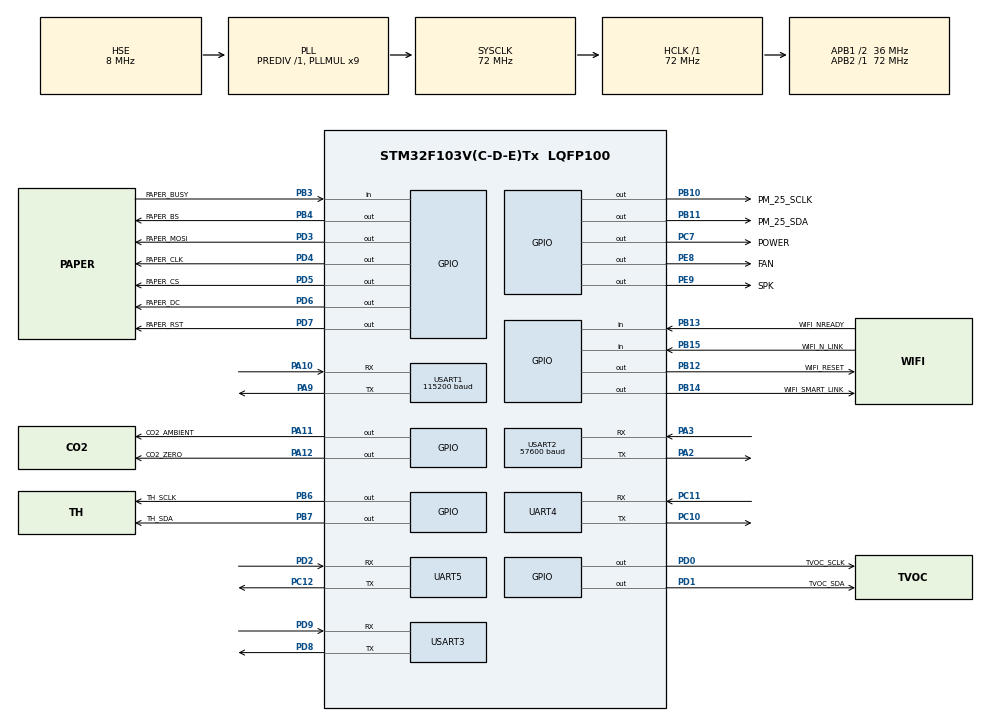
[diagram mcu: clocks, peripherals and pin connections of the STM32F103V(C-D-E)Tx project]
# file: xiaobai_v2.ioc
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Dma.Request0=USART1_RX
Dma.Request1=USART1_TX
Dma.Request2=USART3_RX
Dma.Request3=USART3_TX
Dma.Request4=UART4_RX
Dma.Request5=UART4_TX
Dma.Request6=USART2_RX
Dma.Request7=USART2_TX
Dma.UART4_RX.4.Direction=DMA_PERIPH_TO_MEMORY
Dma.UART4_RX.4.Instance=DMA2_Channel3
Dma.UART4_RX.4.MemDataAlignment=DMA_MDATAALIGN_BYTE
Dma.UART4_RX.4.MemInc=DMA_MINC_ENABLE
Dma.UART4_RX.4.Mode=DMA_NORMAL
Dma.UART4_RX.4.PeriphDataAlignment=DMA_PDATAALIGN_BYTE
Dma.UART4_RX.4.PeriphInc=DMA_PINC_DISABLE
Dma.UART4_RX.4.Priority=DMA_PRIORITY_HIGH
Dma.UART4_TX.5.Direction=DMA_MEMORY_TO_PERIPH
Dma.UART4_TX.5.Instance=DMA2_Channel5
Dma.UART4_TX.5.MemDataAlignment=DMA_MDATAALIGN_BYTE
Dma.UART4_TX.5.MemInc=DMA_MINC_ENABLE
Dma.UART4_TX.5.Mode=DMA_NORMAL
Dma.UART4_TX.5.PeriphDataAlignment=DMA_PDATAALIGN_BYTE
Dma.UART4_TX.5.PeriphInc=DMA_PINC_DISABLE
Dma.UART4_TX.5.Priority=DMA_PRIORITY_MEDIUM
Dma.USART1_RX.0.Direction=DMA_PERIPH_TO_MEMORY
Dma.USART1_RX.0.Instance=DMA1_Channel5
Dma.USART1_RX.0.MemDataAlignment=DMA_MDATAALIGN_BYTE
Dma.USART1_RX.0.MemInc=DMA_MINC_ENABLE
Dma.USART1_RX.0.Mode=DMA_NORMAL
Dma.USART1_RX.0.PeriphDataAlignment=DMA_PDATAALIGN_BYTE
Dma.USART1_RX.0.PeriphInc=DMA_PINC_DISABLE
Dma.USART1_RX.0.Priority=DMA_PRIORITY_HIGH
Dma.USART1_TX.1.Direction=DMA_MEMORY_TO_PERIPH
Dma.USART1_TX.1.Instance=DMA1_Channel4
Dma.USART1_TX.1.MemDataAlignment=DMA_MDATAALIGN_BYTE
Dma.USART1_TX.1.MemInc=DMA_MINC_ENABLE
Dma.USART1_TX.1.Mode=DMA_NORMAL
Dma.USART1_TX.1.PeriphDataAlignment=DMA_PDATAALIGN_BYTE
Dma.USART1_TX.1.PeriphInc=DMA_PINC_DISABLE
Dma.USART1_TX.1.Priority=DMA_PRIORITY_MEDIUM
Dma.USART2_RX.6.Direction=DMA_PERIPH_TO_MEMORY
Dma.USART2_RX.6.Instance=DMA1_Channel6
Dma.USART2_RX.6.MemDataAlignment=DMA_MDATAALIGN_BYTE
Dma.USART2_RX.6.MemInc=DMA_MINC_ENABLE
Dma.USART2_RX.6.Mode=DMA_NORMAL
Dma.USART2_RX.6.PeriphDataAlignment=DMA_PDATAALIGN_BYTE
Dma.USART2_RX.6.PeriphInc=DMA_PINC_DISABLE
Dma.USART2_RX.6.Priority=DMA_PRIORITY_MEDIUM
Dma.USART2_TX.7.Direction=DMA_MEMORY_TO_PERIPH
Dma.USART2_TX.7.Instance=DMA1_Channel7
Dma.USART2_TX.7.MemDataAlignment=DMA_MDATAALIGN_BYTE
Dma.USART2_TX.7.MemInc=DMA_MINC_ENABLE
Dma.USART2_TX.7.Mode=DMA_NORMAL
Dma.USART2_TX.7.PeriphDataAlignment=DMA_PDATAALIGN_BYTE
Dma.USART2_TX.7.PeriphInc=DMA_PINC_DISABLE
Dma.USART2_TX.7.Priority=DMA_PRIORITY_LOW
Dma.USART3_RX.2.Direction=DMA_PERIPH_TO_MEMORY
Dma.USART3_RX.2.Instance=DMA1_Channel3
Dma.USART3_RX.2.MemDataAlignment=DMA_MDATAALIGN_BYTE
Dma.USART3_RX.2.MemInc=DMA_MINC_ENABLE
Dma.USART3_RX.2.Mode=DMA_NORMAL
Dma.USART3_RX.2.PeriphDataAlignment=DMA_PDATAALIGN_BYTE
Dma.USART3_RX.2.PeriphInc=DMA_PINC_DISABLE
Dma.USART3_RX.2.Priority=DMA_PRIORITY_LOW
Dma.USART3_TX.3.Direction=DMA_MEMORY_TO_PERIPH
Dma.USART3_TX.3.Instance=DMA1_Channel2
Dma.USART3_TX.3.MemDataAlignment=DMA_MDATAALIGN_BYTE
Dma.USART3_TX.3.MemInc=DMA_MINC_ENABLE
Dma.USART3_TX.3.Mode=DMA_NORMAL
Dma.USART3_TX.3.PeriphDataAlignment=DMA_PDATAALIGN_BYTE
Dma.USART3_TX.3.PeriphInc=DMA_PINC_DISABLE
Dma.USART3_TX.3.Priority=DMA_PRIORITY_HIGH
FREERTOS.INCLUDE_uxTaskGetStackHighWaterMark=1
FREERTOS.INCLUDE_xTaskGetCurrentTaskHandle=1
FREERTOS.Queues01=serial_queue,8,uint8_t,NULL;gui_queue,8,uint32_t,NULL
FREERTOS.Tasks01=sys_core_task,0,500,sys_core_function,Default;gui_task,0,800,gui_function,Default;serial_task,2,800,serial_function,Default;watcher_task,0,400,watcher_function,Default
FREERTOS.configTOTAL_HEAP_SIZE=20480
FREERTOS.configUSE_IDLE_HOOK=1
FREERTOS.configUSE_TICK_HOOK=1
Mcu.Family=STM32F1
Mcu.Name=STM32F103V(C-D-E)Tx
Mcu.Package=LQFP100
NVIC.DMA1_Channel2_IRQn=true\:5\:0\:false\:false\:true\:true
NVIC.DMA1_Channel3_IRQn=true\:5\:0\:false\:false\:true\:true
NVIC.DMA1_Channel4_IRQn=true\:5\:0\:false\:false\:true\:true
NVIC.DMA1_Channel5_IRQn=true\:5\:0\:false\:false\:true\:true
NVIC.DMA1_Channel6_IRQn=true\:5\:0\:false\:false\:true\:true
NVIC.DMA1_Channel7_IRQn=true\:5\:0\:false\:false\:true\:true
NVIC.DMA2_Channel3_IRQn=true\:5\:0\:false\:false\:true\:true
NVIC.DMA2_Channel4_5_IRQn=true\:5\:0\:false\:false\:true\:true
NVIC.PriorityGroup=NVIC_PRIORITYGROUP_4
NVIC.RTC_IRQn=true\:5\:0\:false\:false\:true\:true
NVIC.TIM2_IRQn=true\:5\:0\:false\:false\:true\:true
NVIC.TIM3_IRQn=true\:5\:0\:false\:false\:true\:true
NVIC.TIM4_IRQn=true\:5\:0\:false\:false\:true\:true
NVIC.TIM5_IRQn=true\:5\:0\:false\:false\:true\:true
NVIC.TIM6_IRQn=true\:5\:0\:false\:false\:true\:true
NVIC.TIM7_IRQn=true\:0\:0\:false\:false\:true\:false
NVIC.TimeBase=TIM7_IRQn
NVIC.TimeBaseIP=TIM7
NVIC.UART4_IRQn=true\:5\:0\:false\:false\:true\:true
NVIC.UART5_IRQn=true\:5\:0\:false\:false\:true\:true
NVIC.USART1_IRQn=true\:5\:0\:false\:false\:true\:true
NVIC.USART2_IRQn=true\:5\:0\:false\:false\:true\:true
NVIC.USART3_IRQn=true\:5\:0\:false\:false\:true\:true
OSC_IN.Mode=HSE-External-Oscillator
OSC_IN.Signal=RCC_OSC_IN
OSC_OUT.Mode=HSE-External-Oscillator
OSC_OUT.Signal=RCC_OSC_OUT
PA10.Mode=Asynchronous
PA10.Signal=USART1_RX
PA11.GPIO_Label=CO2_AMBIENT
PA11.Signal=GPIO_Output
PA12.GPIO_Label=CO2_ZERO
PA12.Signal=GPIO_Output
PA13.Mode=Serial_Wire
PA13.Signal=SYS_JTMS-SWDIO
PA14.Mode=Serial_Wire
PA14.Signal=SYS_JTCK-SWCLK
PA2.Mode=Asynchronous
PA2.Signal=USART2_TX
PA3.Mode=Asynchronous
PA3.Signal=USART2_RX
PA9.Mode=Asynchronous
PA9.Signal=USART1_TX
PB10.GPIO_Label=PM_25_SCLK
PB10.GPIO_ModeDefaultOutputPP=GPIO_MODE_OUTPUT_PP
PB10.Signal=GPIO_Output
PB11.GPIO_Label=PM_25_SDA
PB11.GPIO_ModeDefaultOutputPP=GPIO_MODE_OUTPUT_OD
PB11.Signal=GPIO_Output
PB12.GPIO_Label=WIFI_RESET
PB12.PinState=GPIO_PIN_SET
PB12.Signal=GPIO_Output
PB13.GPIO_Label=WIFI_NREADY
PB13.Signal=GPIO_Input
PB14.GPIO_Label=WIFI_SMART_LINK
PB14.PinState=GPIO_PIN_SET
PB14.Signal=GPIO_Output
PB15.GPIO_Label=WIFI_N_LINK
PB15.Signal=GPIO_Input
PB3.GPIO_Label=PAPER_BUSY
PB3.Signal=GPIO_Input
PB4.GPIO_Label=PAPER_BS
PB4.Signal=GPIO_Output
PB6.GPIO_Label=TH_SCLK
PB6.GPIO_ModeDefaultOutputPP=GPIO_MODE_OUTPUT_PP
PB6.Signal=GPIO_Output
PB7.GPIO_Label=TH_SDA
PB7.GPIO_ModeDefaultOutputPP=GPIO_MODE_OUTPUT_OD
PB7.Signal=GPIO_Output
PC10.Mode=Asynchronous
PC10.Signal=UART4_TX
PC11.Mode=Asynchronous
PC11.Signal=UART4_RX
PC12.Mode=Asynchronous
PC12.Signal=UART5_TX
PC14-OSC32_IN.Mode=LSE-External-Oscillator
PC14-OSC32_IN.Signal=RCC_OSC32_IN
PC15-OSC32_OUT.Mode=LSE-External-Oscillator
PC15-OSC32_OUT.Signal=RCC_OSC32_OUT
PC7.GPIO_Label=POWER
PC7.Signal=GPIO_Output
PD0.GPIO_Label=TVOC_SCLK
PD0.Signal=GPIO_Output
PD1.GPIO_Label=TVOC_SDA
PD1.GPIO_ModeDefaultOutputPP=GPIO_MODE_OUTPUT_OD
PD1.Signal=GPIO_Output
PD2.Mode=Asynchronous
PD2.Signal=UART5_RX
PD3.GPIO_Label=PAPER_MOSI
PD3.Signal=GPIO_Output
PD4.GPIO_Label=PAPER_CLK
PD4.Signal=GPIO_Output
PD5.GPIO_Label=PAPER_CS
PD5.Signal=GPIO_Output
PD6.GPIO_Label=PAPER_DC
PD6.Signal=GPIO_Output
PD7.GPIO_Label=PAPER_RST
PD7.Signal=GPIO_Output
PD8.Mode=Asynchronous
PD8.Signal=USART3_TX
PD9.Mode=Asynchronous
PD9.Signal=USART3_RX
PE8.GPIO_Label=FAN
PE8.Signal=GPIO_Output
PE9.GPIO_Label=SPK
PE9.Signal=GPIO_Output
ProjectManager.HeapSize=0x400
ProjectManager.StackSize=0x1000
ProjectManager.TargetToolchain=MDK-ARM V5
RCC.AHBFreq_Value=72000000
RCC.APB1CLKDivider=RCC_HCLK_DIV2
RCC.APB1Freq_Value=36000000
RCC.APB1TimFreq_Value=72000000
RCC.APB2Freq_Value=72000000
RCC.APB2TimFreq_Value=72000000
RCC.HCLKFreq_Value=72000000
RCC.HSIState=RCC_HSI_ON
RCC.PLLMUL=RCC_PLL_MUL9
RCC.PLLSourceVirtual=RCC_PLLSOURCE_HSE
RCC.SYSCLKFreq_VALUE=72000000
RCC.SYSCLKSource=RCC_SYSCLKSOURCE_PLLCLK
RCC.USBFreq_Value=72000000
TIM2.Period=199
TIM2.Prescaler=71
TIM3.Period=2999
TIM3.Prescaler=71
TIM4.Period=2999
TIM4.Prescaler=71
TIM5.Period=2999
TIM5.Prescaler=71
TIM6.Period=2999
TIM6.Prescaler=71
USART1.BaudRate=115200
USART2.BaudRate=57600
VP_CRC_VS_CRC.Mode=CRC_Activate
VP_FREERTOS_VS_ENABLE.Mode=Enabled
VP_RTC_No_RTC_Output.Mode=RTC_OUT_NO
VP_SYS_VS_tim7.Mode=TIM7
VP_TIM2_VS_ClockSourceINT.Mode=Internal
VP_TIM3_VS_ClockSourceINT.Mode=Internal
VP_TIM4_VS_ClockSourceINT.Mode=Internal
VP_TIM5_VS_ClockSourceINT.Mode=Internal
VP_TIM6_VS_ClockSourceINT.Mode=Enable_Timer
board=xiaobai_v2

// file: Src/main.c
/**
  ******************************************************************************
  * File Name          : main.c
  * Description        : Main program body
  ******************************************************************************
  *
  * COPYRIGHT(c) 2017 STMicroelectronics
  *
  * Redistribution and use in source and binary forms, with or without modification,
  * are permitted provided that the following conditions are met:
  *   1. Redistributions of source code must retain the above copyright notice,
  *      this list of conditions and the following disclaimer.
  *   2. Redistributions in binary form must reproduce the above copyright notice,
  *      this list of conditions and the following disclaimer in the documentation
  *      and/or other materials provided with the distribution.
  *   3. Neither the name of STMicroelectronics nor the names of its contributors
  *      may be used to endorse or promote products derived from this software
  *      without specific prior written permission.
  *
  * THIS SOFTWARE IS PROVIDED BY THE COPYRIGHT HOLDERS AND CONTRIBUTORS "AS IS"
  * AND ANY EXPRESS OR IMPLIED WARRANTIES, INCLUDING, BUT NOT LIMITED TO, THE
  * IMPLIED WARRANTIES OF MERCHANTABILITY AND FITNESS FOR A PARTICULAR PURPOSE ARE
  * DISCLAIMED. IN NO EVENT SHALL THE COPYRIGHT HOLDER OR CONTRIBUTORS BE LIABLE
  * FOR ANY DIRECT, INDIRECT, INCIDENTAL, SPECIAL, EXEMPLARY, OR CONSEQUENTIAL
  * DAMAGES (INCLUDING, BUT NOT LIMITED TO, PROCUREMENT OF SUBSTITUTE GOODS OR
  * SERVICES; LOSS OF USE, DATA, OR PROFITS; OR BUSINESS INTERRUPTION) HOWEVER
  * CAUSED AND ON ANY THEORY OF LIABILITY, WHETHER IN CONTRACT, STRICT LIABILITY,
  * OR TORT (INCLUDING NEGLIGENCE OR OTHERWISE) ARISING IN ANY WAY OUT OF THE USE
  * OF THIS SOFTWARE, EVEN IF ADVISED OF THE POSSIBILITY OF SUCH DAMAGE.
  *
  ******************************************************************************
  */
#include "stm32f1xx_hal.h"
#include "cmsis_os.h"
#include "crc.h"
#include "dma.h"
#include "rtc.h"
#include "tim.h"
#include "usart.h"
#include "gpio.h"

/* USER CODE BEGIN Includes */
#include "include.h"
/* USER CODE END Includes */

/* USER CODE BEGIN PV */
/* Private variables ---------------------------------------------------------*/
extern osMessageQId serial_queueHandle;
extern osMessageQId gui_queueHandle;
/* USER CODE END PV */

void SystemClock_Config(void);
void Error_Handler(void);
void MX_FREERTOS_Init(void);

/* USER CODE BEGIN PFP */
/* Private function prototypes -----------------------------------------------*/

/* USER CODE END PFP */

int main(void)
{

  /* MCU Configuration----------------------------------------------------------*/

  /* Reset of all peripherals, Initializes the Flash interface and the Systick. */
  HAL_Init();

  /* Configure the system clock */
  SystemClock_Config();

  /* Initialize all configured peripherals */
  MX_GPIO_Init();
  MX_DMA_Init();
  MX_RTC_Init();
  MX_CRC_Init();
  MX_UART4_Init();
  MX_UART5_Init();
  MX_USART1_UART_Init();
  MX_USART2_UART_Init();
  MX_USART3_UART_Init();
  MX_TIM3_Init();
  MX_TIM4_Init();
  MX_TIM5_Init();
  MX_TIM6_Init();
  MX_TIM2_Init();

  /* USER CODE BEGIN 2 */
  POWER_ON;
  RELEASE_WIFI_RESET;
  RELEASE_SMART_LINK;
  //SET_SMART_LINK;
  co2_sensor_recv_data.mask = 900;
  HAL_Delay(300);
  HAL_UART_Transmit(&huart1,"K 2",3,800);
  HAL_Delay(300);
  HAL_UART_Transmit(&huart1,"M 12358",7,800);
  HAL_Delay(300);
  HAL_UART_Transmit(&huart1,"X 450",5,800);
  HAL_Delay(300);
  while(HAL_UART_Receive_IT(&huart5,pm25_sensor_recv_data.rx_data,1)==HAL_OK);
  /* USER CODE END 2 */

  /* Call init function for freertos objects (in freertos.c) */
  MX_FREERTOS_Init();

  /* Start scheduler */
  osKernelStart();

  /* We should never get here as control is now taken by the scheduler */

  /* Infinite loop */
  while (1)
  {

  }

}

/** System Clock Configuration
*/
void SystemClock_Config(void)
{

  RCC_OscInitTypeDef RCC_OscInitStruct;
  RCC_ClkInitTypeDef RCC_ClkInitStruct;
  RCC_PeriphCLKInitTypeDef PeriphClkInit;

  RCC_OscInitStruct.OscillatorType = RCC_OSCILLATORTYPE_HSE|RCC_OSCILLATORTYPE_LSE;
  RCC_OscInitStruct.HSEState = RCC_HSE_ON;
  RCC_OscInitStruct.HSEPredivValue = RCC_HSE_PREDIV_DIV1;
  RCC_OscInitStruct.LSEState = RCC_LSE_ON;
  RCC_OscInitStruct.PLL.PLLState = RCC_PLL_ON;
  RCC_OscInitStruct.PLL.PLLSource = RCC_PLLSOURCE_HSE;
  RCC_OscInitStruct.PLL.PLLMUL = RCC_PLL_MUL9;
  if (HAL_RCC_OscConfig(&RCC_OscInitStruct) != HAL_OK)
  {
    Error_Handler();
  }

  RCC_ClkInitStruct.ClockType = RCC_CLOCKTYPE_HCLK|RCC_CLOCKTYPE_SYSCLK
                              |RCC_CLOCKTYPE_PCLK1|RCC_CLOCKTYPE_PCLK2;
  RCC_ClkInitStruct.SYSCLKSource = RCC_SYSCLKSOURCE_PLLCLK;
  RCC_ClkInitStruct.AHBCLKDivider = RCC_SYSCLK_DIV1;
  RCC_ClkInitStruct.APB1CLKDivider = RCC_HCLK_DIV2;
  RCC_ClkInitStruct.APB2CLKDivider = RCC_HCLK_DIV1;
  if (HAL_RCC_ClockConfig(&RCC_ClkInitStruct, FLASH_LATENCY_2) != HAL_OK)
  {
    Error_Handler();
  }

  PeriphClkInit.PeriphClockSelection = RCC_PERIPHCLK_RTC;
  PeriphClkInit.RTCClockSelection = RCC_RTCCLKSOURCE_LSE;
  if (HAL_RCCEx_PeriphCLKConfig(&PeriphClkInit) != HAL_OK)
  {
    Error_Handler();
  }

  HAL_SYSTICK_Config(HAL_RCC_GetHCLKFreq()/1000);

  HAL_SYSTICK_CLKSourceConfig(SYSTICK_CLKSOURCE_HCLK);

  /* SysTick_IRQn interrupt configuration */
  HAL_NVIC_SetPriority(SysTick_IRQn, 15, 0);
}

void HAL_TIM_PeriodElapsedCallback(TIM_HandleTypeDef *htim)
{
/* USER CODE BEGIN Callback 0 */
//S_Usart1_Recv_Data co2_sensor_recv_data;
//S_Usart2_Recv_Data tcm300_recv_data;
//S_Usart3_Recv_Data wifi_recv_data;
//S_Usart4_Recv_Data hcho_sensor_recv_data;
//S_Usart5_Recv_Data pm25_sensor_recv_data;

	unsigned char uasrt_msg = 0;
	BaseType_t xHigherPriorityTaskWoken;
	xHigherPriorityTaskWoken = pdFALSE;
	if (htim->Instance == TIM2) {
  	HAL_TIM_Base_Stop_IT(&htim2);
	if(co2_sensor_recv_data.dma_cndtr ==  huart1.hdmarx->Instance->CNDTR)
		{
		        HAL_UART_DMAStop(&huart1);
			co2_sensor_recv_data.data_len = USART1_RECV_BUFF_SIZE-co2_sensor_recv_data.dma_cndtr;
			HAL_UART_Receive_DMA(&huart1, co2_sensor_recv_data.rx_data, USART1_RECV_BUFF_SIZE);
			uasrt_msg = USART1_RECV_DATA;
			co2_sensor_recv_data.recv_ok = 1;
			xQueueSendFromISR(serial_queueHandle,&uasrt_msg,&xHigherPriorityTaskWoken);
		}else{
			HAL_TIM_Base_Start_IT(&htim2);
			co2_sensor_recv_data.dma_cndtr =  huart1.hdmarx->Instance->CNDTR;
		}
  	}

	if (htim->Instance == TIM3) {
  	HAL_TIM_Base_Stop_IT(&htim3);
	if(tcm300_recv_data.dma_cndtr ==  huart2.hdmarx->Instance->CNDTR)
		{
		        HAL_UART_DMAStop(&huart2);
			tcm300_recv_data.data_len = USART2_RECV_BUFF_SIZE-tcm300_recv_data.dma_cndtr;
			HAL_UART_Receive_DMA(&huart2, tcm300_recv_data.rx_data, USART2_RECV_BUFF_SIZE);
			uasrt_msg = USART2_RECV_DATA;
			tcm300_recv_data.recv_ok = 1;
			xQueueSendFromISR(serial_queueHandle,&uasrt_msg,&xHigherPriorityTaskWoken);
		}else{
			HAL_TIM_Base_Start_IT(&htim3);
			tcm300_recv_data.dma_cndtr =  huart2.hdmarx->Instance->CNDTR;
		}
  	}

	if (htim->Instance == TIM4) {
  	HAL_TIM_Base_Stop_IT(&htim4);
	if(wifi_recv_data.dma_cndtr ==  huart3.hdmarx->Instance->CNDTR)
		{
		        HAL_UART_DMAStop(&huart3);
			wifi_recv_data.data_len = USART3_RECV_BUFF_SIZE-wifi_recv_data.dma_cndtr;
			HAL_UART_Receive_DMA(&huart3, wifi_recv_data.rx_data, USART3_RECV_BUFF_SIZE);
			uasrt_msg = USART3_RECV_DATA;
			wifi_recv_data.recv_ok = 1;
			xQueueSendFromISR(serial_queueHandle,&uasrt_msg,&xHigherPriorityTaskWoken);
		}else{
			HAL_TIM_Base_Start_IT(&htim4);
			wifi_recv_data.dma_cndtr =  huart3.hdmarx->Instance->CNDTR;
		}
  	}

	if (htim->Instance == TIM5) {
  	HAL_TIM_Base_Stop_IT(&htim5);
	if(hcho_sensor_recv_data.dma_cndtr ==  huart4.hdmarx->Instance->CNDTR)
		{
		        HAL_UART_DMAStop(&huart4);
			hcho_sensor_recv_data.data_len = USART4_RECV_BUFF_SIZE-hcho_sensor_recv_data.dma_cndtr;
			HAL_UART_Receive_DMA(&huart4, hcho_sensor_recv_data.rx_data, USART4_RECV_BUFF_SIZE);
			uasrt_msg = USART4_RECV_DATA;
			hcho_sensor_recv_data.recv_ok = 1;
			xQueueSendFromISR(serial_queueHandle,&uasrt_msg,&xHigherPriorityTaskWoken);
		}else{
			HAL_TIM_Base_Start_IT(&htim5);
			hcho_sensor_recv_data.dma_cndtr =  huart4.hdmarx->Instance->CNDTR;
		}
  	}
/* USER CODE END Callback 0 */
  if (htim->Instance == TIM7) {
    HAL_IncTick();
  }
}

void Error_Handler(void)
{
  while(1)
  {
  }
}

/************************ (C) COPYRIGHT STMicroelectronics *****END OF FILE****/

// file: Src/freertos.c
/**
  ******************************************************************************
  * File Name          : freertos.c
  * Description        : Code for freertos applications
  ******************************************************************************
  *
  * COPYRIGHT(c) 2017 STMicroelectronics
  *
  * Redistribution and use in source and binary forms, with or without modification,
  * are permitted provided that the following conditions are met:
  *   1. Redistributions of source code must retain the above copyright notice,
  *      this list of conditions and the following disclaimer.
  *   2. Redistributions in binary form must reproduce the above copyright notice,
  *      this list of conditions and the following disclaimer in the documentation
  *      and/or other materials provided with the distribution.
  *   3. Neither the name of STMicroelectronics nor the names of its contributors
  *      may be used to endorse or promote products derived from this software
  *      without specific prior written permission.
  *
  * THIS SOFTWARE IS PROVIDED BY THE COPYRIGHT HOLDERS AND CONTRIBUTORS "AS IS"
  * AND ANY EXPRESS OR IMPLIED WARRANTIES, INCLUDING, BUT NOT LIMITED TO, THE
  * IMPLIED WARRANTIES OF MERCHANTABILITY AND FITNESS FOR A PARTICULAR PURPOSE ARE
  * DISCLAIMED. IN NO EVENT SHALL THE COPYRIGHT HOLDER OR CONTRIBUTORS BE LIABLE
  * FOR ANY DIRECT, INDIRECT, INCIDENTAL, SPECIAL, EXEMPLARY, OR CONSEQUENTIAL
  * DAMAGES (INCLUDING, BUT NOT LIMITED TO, PROCUREMENT OF SUBSTITUTE GOODS OR
  * SERVICES; LOSS OF USE, DATA, OR PROFITS; OR BUSINESS INTERRUPTION) HOWEVER
  * CAUSED AND ON ANY THEORY OF LIABILITY, WHETHER IN CONTRACT, STRICT LIABILITY,
  * OR TORT (INCLUDING NEGLIGENCE OR OTHERWISE) ARISING IN ANY WAY OUT OF THE USE
  * OF THIS SOFTWARE, EVEN IF ADVISED OF THE POSSIBILITY OF SUCH DAMAGE.
  *
  ******************************************************************************
  */

#include "FreeRTOS.h"
#include "task.h"
#include "cmsis_os.h"

/* USER CODE BEGIN Includes */
#include "include.h"

/* USER CODE END Includes */

osThreadId sys_core_taskHandle;
osThreadId gui_taskHandle;
osThreadId serial_taskHandle;
osThreadId watcher_taskHandle;
osMessageQId serial_queueHandle;
osMessageQId gui_queueHandle;

void sys_core_function(void const * argument);
void gui_function(void const * argument);
void serial_function(void const * argument);
void watcher_function(void const * argument);

void MX_FREERTOS_Init(void); /* (MISRA C 2004 rule 8.1) */

/* Hook prototypes */
void vApplicationIdleHook(void);
void vApplicationTickHook(void);

/* Init FreeRTOS */

void MX_FREERTOS_Init(void) {

  /* Create the thread(s) */
  /* definition and creation of sys_core_task */
  osThreadDef(sys_core_task, sys_core_function, osPriorityNormal, 0, 500);
  sys_core_taskHandle = osThreadCreate(osThread(sys_core_task), NULL);

  /* definition and creation of gui_task */
  osThreadDef(gui_task, gui_function, osPriorityNormal, 0, 800);
  gui_taskHandle = osThreadCreate(osThread(gui_task), NULL);

  /* definition and creation of serial_task */
  osThreadDef(serial_task, serial_function, osPriorityHigh, 0, 800);
  serial_taskHandle = osThreadCreate(osThread(serial_task), NULL);

  /* definition and creation of watcher_task */
  osThreadDef(watcher_task, watcher_function, osPriorityNormal, 0, 400);
  watcher_taskHandle = osThreadCreate(osThread(watcher_task), NULL);

  /* Create the queue(s) */
  /* definition and creation of serial_queue */
  osMessageQDef(serial_queue, 8, uint8_t);
  serial_queueHandle = osMessageCreate(osMessageQ(serial_queue), NULL);

  /* definition and creation of gui_queue */
  osMessageQDef(gui_queue, 8, uint32_t);
  gui_queueHandle = osMessageCreate(osMessageQ(gui_queue), NULL);

}

/* sys_core_function function */
void sys_core_function(void const * argument)
{

  /* USER CODE BEGIN sys_core_function */
  osDelay(30);
  save_task_info();
  start_recv_data();
  init_sht20();
  osDelay(3000);
  get_tcm300_id();

  /* Infinite loop */
  for(;;)
  {
	osDelay(10);
	while(HAL_UART_Receive_IT(&huart5,pm25_sensor_recv_data.rx_data,1)==HAL_OK);
  }
  /* USER CODE END sys_core_function */
}

/* gui_function function */
void gui_function(void const * argument)
{
  /* USER CODE BEGIN gui_function */
  save_task_info();
  unsigned short num;
  test_function();
  //EPD_init_Full();
  /* Infinite loop */
  for(;;)
  {
	push_data(&co2_data,(float)(co2_sensor_recv_data.reslut));
	push_data(&pm25_data,res_pm2_5.pm2_5);
	push_data(&pm10_data,res_pm2_5.pm10);
	push_data(&voc_data,(float)(air_info.tvoc_voc));
	push_data(&hcho,(float)(air_info.hcho));
	push_data(&temp_data,air_info.cur_temp);
	push_data(&hum_data,air_info.cur_hum);

	//load_data_to_graph_buf(&co2_data);

	//draw_image(kx++,ky+=2,8,16,(unsigned char*)gImage_8_16[6],kx%2);
	//draw_image(p_x++,p_y-=2,8,16,(unsigned char*)gImage_8_16[6],p_x%2);

	//EPD_Dis_Part(0,xDot-1,0,yDot-1,(unsigned char *)g_image_buf,1);

	//graph_buf.save_num = (graph_buf.save_num>127)? 127: graph_buf.save_num;

	if(graph_buf.menu_choose)
		{
				if(1 == graph_buf.nop_refresh)
					{
						graph_buf.nop_refresh = 0;
					}
				else
					{
						display_graph();
					}
		}
	else
		{
				if(1 == graph_buf.nop_refresh)
					{
						graph_buf.nop_refresh = 0;
					}
				else
					{
						refresh_menu(1);
					}
		}

	if(num > MAX_SAVE_DATA_NUM)
		{
			num = 0;
		}
	graph_buf.time_step = 10;
    	osDelay(10000);

  }
  /* USER CODE END gui_function */
}

/* serial_function function */
void serial_function(void const * argument)
{
  /* USER CODE BEGIN serial_function */
  save_task_info();
  /* Infinite loop */
  unsigned char serial_value;
  for(;;)
  {
  	xQueueReceive(serial_queueHandle, &serial_value, portMAX_DELAY);
	switch(serial_value)
		{
			case USART1_RECV_DATA:
				pretreatment_uasrt1_data();
				break;
			case USART2_RECV_DATA:
				task_deal_tcm300();
				break;
			case USART3_RECV_DATA:
				break;
			case USART4_RECV_DATA:
				pretreatment_uasrt4_data();
				break;
			case USART5_RECV_DATA:
				break;
			default :
				break;
		}
  }
  /* USER CODE END serial_function */
}

/* watcher_function function */
void watcher_function(void const * argument)
{
  /* USER CODE BEGIN watcher_function */
  save_task_info();
  osDelay(3000);
  read_tcm300_id();
  /* Infinite loop */
  for(;;)
  {
	osDelay(3000);
  	get_stnp_time();
	get_hcho_value();
	get_tvoc_value();
	get_pm25_data();
	save_tem_hum_buf(get_tem(),get_hum());
	machine_info.is_wifi_not_linked = (unsigned char) READ_NLINK;
	machine_info.is_wifi_not_ready = (unsigned char) READ_NREADY;
  }
  /* USER CODE END watcher_function */
}

/************************ (C) COPYRIGHT STMicroelectronics *****END OF FILE****/
